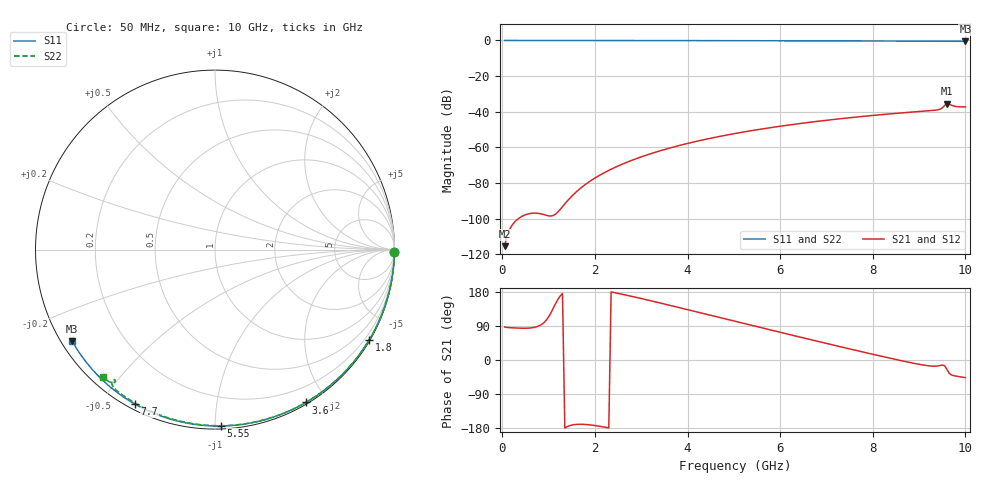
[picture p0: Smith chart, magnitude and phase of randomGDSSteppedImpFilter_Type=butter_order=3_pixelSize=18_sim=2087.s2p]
! freq	dB(S11)	phase(S11)	dB(S12)	phase(S12)
!  dB(S21)	phase(S21)	dB(S22)	phase(S22)
!S-par simulation data
#  GHz  S  DB  R 50
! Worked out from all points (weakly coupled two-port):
!   200 points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, 50 MHz to 10 GHz, reference 50 ohm
!   highest |S21| = -35.43 dB at 9.6 GHz (marker M1); lowest = -115.4 dB at 50 MHz (marker M2)
!   lowest |S11| = -0.5 dB at 10 GHz (marker M3), VSWR 35.23, Z = 1.54 - j14.6 ohm
!   |S11| at or under -10 dB: nowhere
!   |S22| runs from -0.8 to 0.0 dB; largest |S21 - S12| = 0
!   S11 on the Smith chart (normalised r, x): 50 MHz: open; 1.8 GHz: 0.03, -3.68; 3.6 GHz: 0.02, -1.76; 5.55 GHz: 0.02, -1.03; 7.7 GHz: 0.02, -0.61; 10 GHz: 0.03, -0.29
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0.05  -0.00 -0.9  -115.41 87.1  -115.41 87.1  -0.00 -0.8
0.9  -0.02 -15.4  -97.71 98.8  -97.71 98.8  -0.02 -13.6
1.75  -0.04 -29.6  -81.65 -169.8  -81.65 -169.8  -0.03 -26.3
1.8  -0.04 -30.4  -80.67 -170.2  -80.67 -170.2  -0.03 -27.0
1.85  -0.04 -31.2  -79.75 -170.7  -79.75 -170.7  -0.04 -27.8
2.15  -0.05 -36.1  -74.93 -175.8  -74.93 -175.8  -0.04 -32.2
2.55  -0.05 -42.6  -69.86 174.6  -69.86 174.6  -0.05 -38.0
2.95  -0.06 -49.0  -65.77 163.7  -65.77 163.7  -0.06 -43.7
3.4  -0.07 -56.1  -61.95 150.7  -61.95 150.7  -0.07 -50.0
3.6  -0.08 -59.2  -60.46 144.8  -60.46 144.8  -0.07 -52.8
4.3  -0.10 -69.9  -55.97 124.0  -55.97 124.0  -0.09 -62.4
5.05  -0.12 -80.9  -52.09 101.5  -52.09 101.5  -0.11 -72.4
5.55  -0.14 -88.1  -49.89 86.5  -49.89 86.5  -0.13 -78.9
6.7  -0.20 -104.0  -45.71 52.5  -45.71 52.5  -0.18 -93.3
7.7  -0.27 -117.4  -42.83 23.6  -42.83 23.6  -0.24 -105.3
8.35  -0.32 -125.9  -41.24 5.4  -41.24 5.4  -0.28 -113.0
9.4  -0.43 -139.5  -38.92 -15.8  -38.92 -15.8  -0.40 -125.8
9.5  -0.44 -140.8  -37.83 -13.4  -37.83 -13.4  -0.50 -127.5
9.6  -0.44 -142.1  -35.43 -24.7  -35.43 -24.7  -0.78 -127.6
9.7  -0.45 -143.4  -36.37 -39.5  -36.37 -39.5  -0.60 -127.4
9.8  -0.47 -144.7  -37.06 -42.6  -37.06 -42.6  -0.51 -128.7
10  -0.49 -147.3  -37.27 -46.6  -37.27 -46.6  -0.48 -131.2
